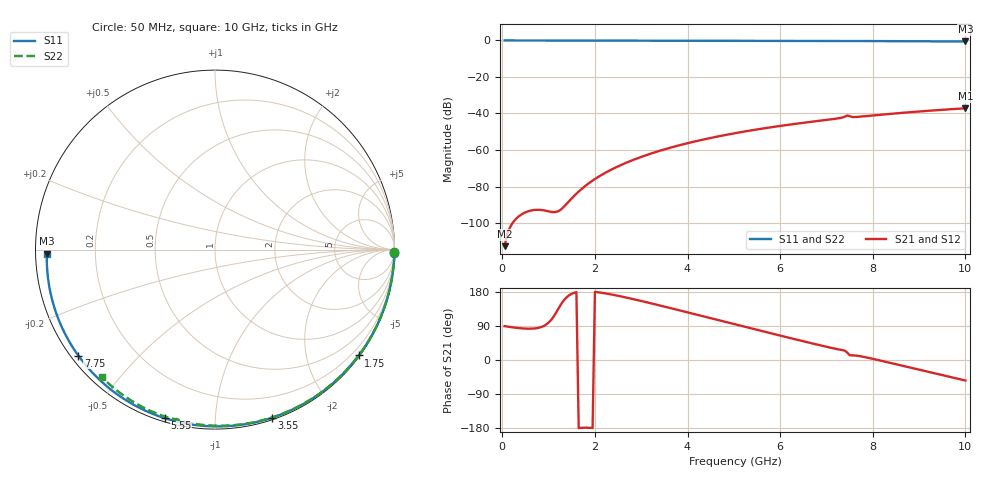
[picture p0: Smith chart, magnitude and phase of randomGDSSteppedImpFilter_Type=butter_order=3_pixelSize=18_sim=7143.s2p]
! freq	dB(S11)	phase(S11)	dB(S12)	phase(S12)
!  dB(S21)	phase(S21)	dB(S22)	phase(S22)
!S-par simulation data
#  GHz  S  DB  R 50
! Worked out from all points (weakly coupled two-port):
!   200 points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, 50 MHz to 10 GHz, reference 50 ohm
!   highest |S21| = -37.15 dB at 10 GHz (marker M1); lowest = -112.7 dB at 50 MHz (marker M2)
!   lowest |S11| = -0.6 dB at 10 GHz (marker M3), VSWR 30.89, Z = 1.62 - j0.617 ohm
!   |S11| at or under -10 dB: nowhere
!   |S22| runs from -0.4 to 0.0 dB; largest |S21 - S12| = 0
!   S11 on the Smith chart (normalised r, x): 50 MHz: open; 1.75 GHz: 0.03, -3.05; 3.55 GHz: 0.02, -1.39; 5.55 GHz: 0.02, -0.75; 7.75 GHz: 0.02, -0.34; 10 GHz: 0.03, -0.01
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0.05  -0.00 -1.1  -112.66 89.4  -112.66 89.4  -0.00 -0.8
0.85  -0.02 -17.9  -92.86 87.4  -92.86 87.4  -0.02 -12.8
1.75  -0.05 -36.4  -80.52 -178.7  -80.52 -178.7  -0.03 -26.2
1.8  -0.05 -37.4  -79.51 -178.6  -79.51 -178.6  -0.03 -26.9
2.15  -0.06 -44.4  -73.54 177.3  -73.54 177.3  -0.04 -32.1
2.5  -0.07 -51.3  -68.94 169.4  -68.94 169.4  -0.05 -37.1
2.9  -0.08 -59.0  -64.71 158.6  -64.71 158.6  -0.06 -42.9
3.4  -0.09 -68.5  -60.42 144.0  -60.42 144.0  -0.07 -49.9
3.55  -0.09 -71.3  -59.30 139.5  -59.30 139.5  -0.07 -52.0
4.3  -0.12 -85.0  -54.49 116.6  -54.49 116.6  -0.09 -62.3
5.05  -0.15 -98.1  -50.67 93.5  -50.67 93.5  -0.11 -72.2
5.55  -0.17 -106.6  -48.53 78.1  -48.53 78.1  -0.13 -78.7
6.1  -0.20 -115.7  -46.45 61.4  -46.45 61.4  -0.15 -85.7
6.7  -0.24 -125.5  -44.46 43.5  -44.46 43.5  -0.18 -93.1
7.25  -0.28 -134.3  -42.68 28.3  -42.68 28.3  -0.21 -99.9
7.35  -0.29 -135.9  -42.15 26.0  -42.15 26.0  -0.22 -101.2
7.45  -0.30 -137.5  -41.11 19.5  -41.11 19.5  -0.28 -102.4
7.55  -0.30 -139.1  -41.90 12.1  -41.90 12.1  -0.27 -103.1
7.75  -0.32 -142.2  -41.67 9.6  -41.67 9.6  -0.25 -105.6
8.35  -0.38 -151.8  -40.25 -6.8  -40.25 -6.8  -0.29 -112.7
9.2  -0.47 -165.4  -38.52 -31.2  -38.52 -31.2  -0.36 -122.4
10  -0.56 -178.6  -37.15 -54.1  -37.15 -54.1  -0.45 -131.5
